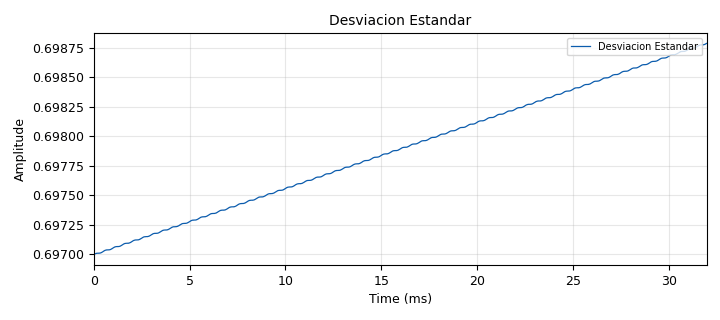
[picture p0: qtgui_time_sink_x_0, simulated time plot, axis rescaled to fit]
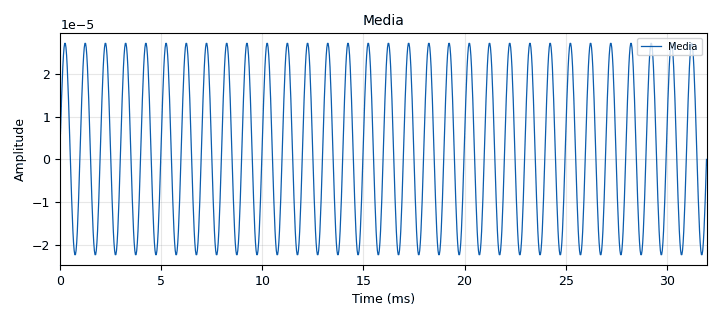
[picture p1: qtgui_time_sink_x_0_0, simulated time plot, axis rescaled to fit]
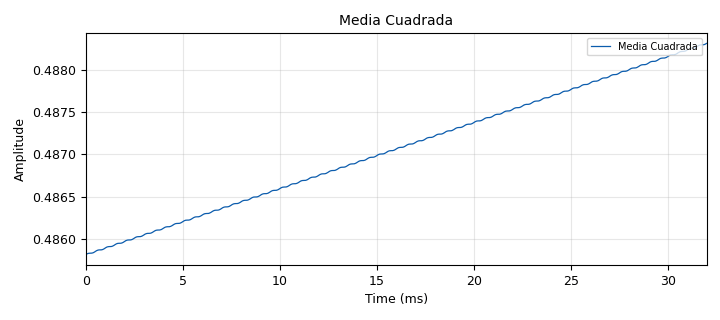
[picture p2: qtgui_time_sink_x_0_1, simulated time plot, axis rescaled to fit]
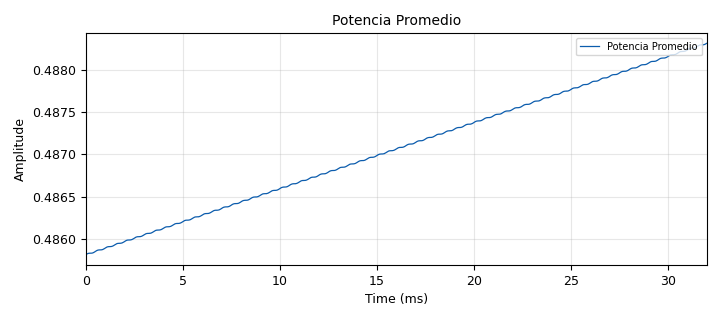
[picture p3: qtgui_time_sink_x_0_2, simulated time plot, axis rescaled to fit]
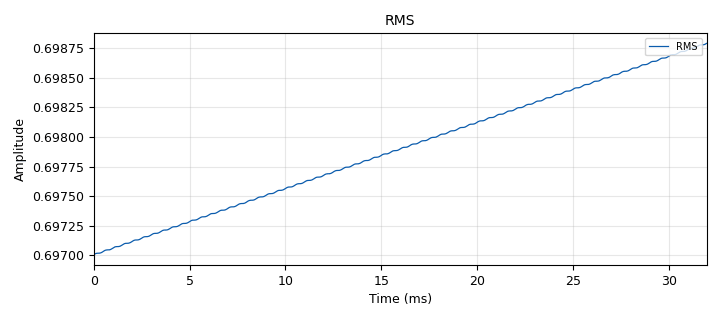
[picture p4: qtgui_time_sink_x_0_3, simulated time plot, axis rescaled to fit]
options:
  parameters:
    generate_options: qt_gui
    id: Promedio
    output_language: python
    title: Not titled yet
  states: {}

blocks:
- name: samp_rate
  id: variable
  parameters:
    value: '32000'
  states: {}
- name: analog_sig_source_x_0
  id: analog_sig_source_x
  parameters:
    amp: '1'
    freq: '1000'
    offset: '0'
    phase: '0'
    samp_rate: samp_rate
    type: float
    waveform: analog.GR_COS_WAVE
  states: {}
- name: epy_block_1
  id: epy_block
  parameters:
    _source_code: |
      """
      Embedded Python Blocks:

      Each time this file is saved, GRC will instantiate the first class it finds
      to get ports and parameters of your block. The arguments to __init__  will
      be the parameters. All of them are required to have default values!
      """

      import numpy as np
      from gnuradio import gr

      class blk(gr.sync_block):
          def __init__(self):
              gr.sync_block.__init__(
                  self,
                  name='Promedios_de_tiempos',
                  in_sig=[np.float32],
                  out_sig=[np.float32, np.float32, np.float32, np.float32, np.float32]
              )
              self.acum_anterior = 0
              self.Ntotales = 0
              self.acum_anterior1 = 0
              self.acum_anterior2 = 0

          def work(self, input_items, output_items):
              x = input_items[0]
              y0 = output_items[0]
              y1 = output_items[1]
              y2 = output_items[2]
              y3 = output_items[3]
              y4 = output_items[4]

              N = len(x)
              self.Ntotales += N

              acumulado = self.acum_anterior + np.cumsum(x)
              self.acum_anterior = acumulado[N - 1]
              y0[:] = acumulado / self.Ntotales

              x2 = np.multiply(x, x)
              acumulado1 = self.acum_anterior1 + np.cumsum(x2)
              self.acum_anterior1 = acumulado1[N - 1]
              y1[:] = acumulado1 / self.Ntotales

              y2[:] = np.sqrt(y1)

              y3[:] = np.multiply(y2, y2)

              x3 = np.multiply(x - y0, x - y0)
              acumulado2 = self.acum_anterior2 + np.cumsum(x3)
              self.acum_anterior2 = acumulado2[N - 1]
              y4[:] = np.sqrt(acumulado2 / self.Ntotales)

              return len(y0)
  states: {}
- name: qtgui_time_sink_x_0
  id: qtgui_time_sink_x
  parameters:
    entags: 'False'
    label1: Desviacion Estandar
    name: '"Desviacion Estandar"'
    size: '1024'
    srate: samp_rate
    type: float
  states: {}
- name: qtgui_time_sink_x_0_0
  id: qtgui_time_sink_x
  parameters:
    label1: Media
    name: '"Media"'
    size: '1024'
    srate: samp_rate
    type: float
  states: {}
- name: qtgui_time_sink_x_0_1
  id: qtgui_time_sink_x
  parameters:
    label1: Media Cuadrada
    name: '"Media Cuadrada"'
    size: '1024'
    srate: samp_rate
    type: float
  states: {}
- name: qtgui_time_sink_x_0_2
  id: qtgui_time_sink_x
  parameters:
    label1: Potencia Promedio
    name: '"Potencia Promedio"'
    size: '1024'
    srate: samp_rate
    type: float
  states: {}
- name: qtgui_time_sink_x_0_3
  id: qtgui_time_sink_x
  parameters:
    label1: RMS
    name: '"RMS"'
    size: '1024'
    srate: samp_rate
    type: float
  states: {}

connections:
- [analog_sig_source_x_0, '0', epy_block_1, '0']
- [epy_block_1, '0', qtgui_time_sink_x_0_0, '0']
- [epy_block_1, '1', qtgui_time_sink_x_0_1, '0']
- [epy_block_1, '2', qtgui_time_sink_x_0_3, '0']
- [epy_block_1, '3', qtgui_time_sink_x_0_2, '0']
- [epy_block_1, '4', qtgui_time_sink_x_0, '0']

metadata:
  file_format: 1
  grc_version: 3.9.8.0
